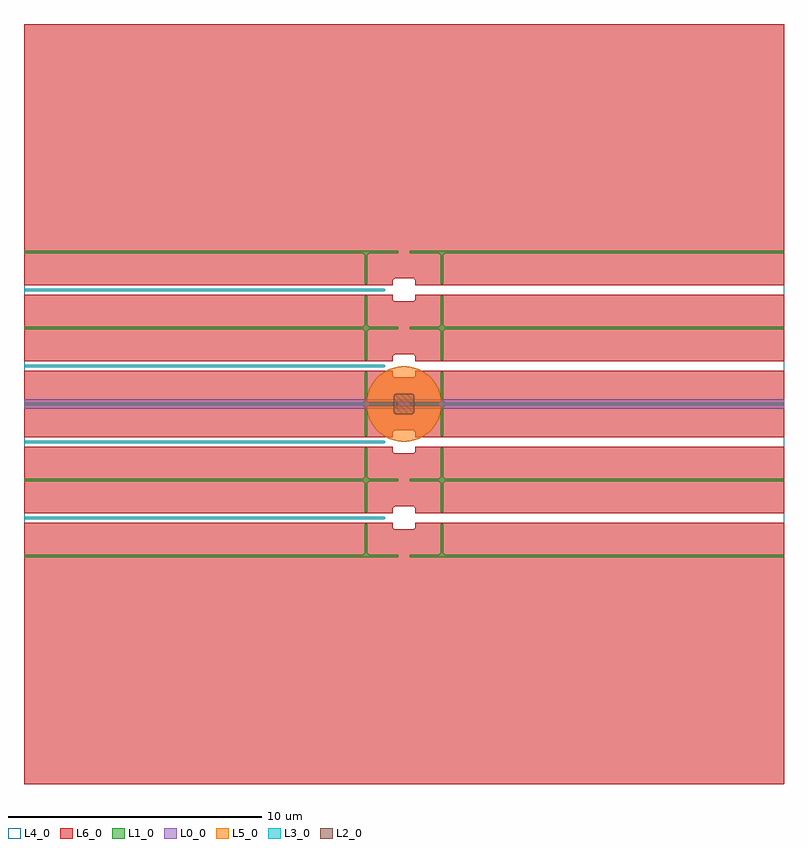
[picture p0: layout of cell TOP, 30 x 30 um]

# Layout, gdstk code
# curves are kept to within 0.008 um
import gdstk
lib = gdstk.Library(unit=1e-6, precision=1e-09)
def R(c, l, rs):  # rectangles x0, y0, x1, y1
    for r in rs: c.add(gdstk.rectangle(r[:2], r[2:], *l))
def P(c, l, *ps):  # polygons
    for p in ps: c.add(gdstk.Polygon(p, *l))
L0_0 = (0, 0)
L1_0 = (1, 0)
L2_0 = (2, 0)
L3_0 = (3, 0)
L4_0 = (4, 0)
L5_0 = (5, 0)
L6_0 = (6, 0)

top = lib.new_cell('TOP')
R(top, L0_0, [(-15,-0.194,15,0.194)])
P(top, L1_0, [(-14.957,-6.05),(-14.984,-6.037),(-15,-6.007),(-14.987,-5.966),(-14.957,-5.95),(-1.645,-5.949),(-1.586,-5.921),(-1.551,-5.855),(-1.55,-4.768),(-1.537,-4.741),(-1.507,-4.725),(-1.466,-4.738),(-1.45,-4.768),(-1.45,-5.844),(-1.444,-5.876),(-1.414,-5.921),(-1.344,-5.95),(-0.268,-5.95),(-0.241,-5.963),(-0.225,-5.993),(-0.238,-6.034),(-0.268,-6.05)],
  [(0.268,-6.05),(0.241,-6.037),(0.225,-6.007),(0.238,-5.966),(0.268,-5.95),(1.344,-5.95),(1.376,-5.944),(1.421,-5.914),(1.45,-5.844),(1.45,-4.768),(1.463,-4.741),(1.493,-4.725),(1.534,-4.738),(1.55,-4.768),(1.551,-5.855),(1.579,-5.914),(1.645,-5.949),(14.957,-5.95),(14.984,-5.963),(15,-5.993),(14.987,-6.034),(14.957,-6.05)],
  [(-1.507,-4.275),(-1.534,-4.262),(-1.55,-4.232),(-1.551,-3.145),(-1.579,-3.086),(-1.645,-3.051),(-14.957,-3.05),(-14.987,-3.034),(-15,-2.993),(-14.987,-2.966),(-14.957,-2.95),(-1.645,-2.949),(-1.586,-2.921),(-1.551,-2.855),(-1.55,-1.768),(-1.534,-1.738),(-1.493,-1.725),(-1.466,-1.738),(-1.45,-1.768),(-1.45,-2.844),(-1.421,-2.914),(-1.376,-2.944),(-1.344,-2.95),(-0.268,-2.95),(-0.238,-2.966),(-0.225,-3.007),(-0.238,-3.034),(-0.268,-3.05),(-1.344,-3.05),(-1.414,-3.079),(-1.444,-3.124),(-1.45,-3.156),(-1.45,-4.232),(-1.466,-4.262)],
  [(1.493,-4.275),(1.466,-4.262),(1.45,-4.232),(1.45,-3.156),(1.421,-3.086),(1.376,-3.056),(1.344,-3.05),(0.268,-3.05),(0.241,-3.037),(0.225,-3.007),(0.238,-2.966),(0.268,-2.95),(1.344,-2.95),(1.376,-2.944),(1.421,-2.914),(1.45,-2.844),(1.45,-1.768),(1.463,-1.741),(1.493,-1.725),(1.534,-1.738),(1.55,-1.768),(1.551,-2.855),(1.579,-2.914),(1.645,-2.949),(14.957,-2.95),(14.984,-2.963),(15,-2.993),(14.987,-3.034),(14.957,-3.05),(1.645,-3.051),(1.586,-3.079),(1.551,-3.145),(1.55,-4.232),(1.534,-4.262)],
  [(-1.507,-1.275),(-1.534,-1.262),(-1.55,-1.232),(-1.551,-0.145),(-1.579,-0.086),(-1.645,-0.051),(-14.957,-0.05),(-14.987,-0.034),(-15,0.007),(-14.987,0.034),(-14.957,0.05),(-1.645,0.051),(-1.586,0.079),(-1.551,0.145),(-1.55,1.232),(-1.534,1.262),(-1.493,1.275),(-1.466,1.262),(-1.45,1.232),(-1.45,0.156),(-1.421,0.086),(-1.376,0.056),(-1.344,0.05),(-0.268,0.05),(-0.238,0.034),(-0.225,-0.007),(-0.238,-0.034),(-0.268,-0.05),(-1.344,-0.05),(-1.414,-0.079),(-1.444,-0.124),(-1.45,-0.156),(-1.45,-1.232),(-1.466,-1.262)],
  [(1.493,-1.275),(1.466,-1.262),(1.45,-1.232),(1.45,-0.156),(1.421,-0.086),(1.376,-0.056),(1.344,-0.05),(0.268,-0.05),(0.241,-0.037),(0.225,-0.007),(0.238,0.034),(0.268,0.05),(1.344,0.05),(1.376,0.056),(1.421,0.086),(1.45,0.156),(1.45,1.232),(1.463,1.259),(1.493,1.275),(1.534,1.262),(1.55,1.232),(1.551,0.145),(1.579,0.086),(1.645,0.051),(14.957,0.05),(14.984,0.037),(15,0.007),(14.987,-0.034),(14.957,-0.05),(1.645,-0.051),(1.586,-0.079),(1.551,-0.145),(1.55,-1.232),(1.534,-1.262)],
  [(-1.507,1.725),(-1.534,1.738),(-1.55,1.768),(-1.551,2.855),(-1.579,2.914),(-1.645,2.949),(-14.957,2.95),(-14.987,2.966),(-15,3.007),(-14.987,3.034),(-14.957,3.05),(-1.645,3.051),(-1.586,3.079),(-1.551,3.145),(-1.55,4.232),(-1.534,4.262),(-1.493,4.275),(-1.466,4.262),(-1.45,4.232),(-1.45,3.156),(-1.421,3.086),(-1.376,3.056),(-1.344,3.05),(-0.268,3.05),(-0.238,3.034),(-0.225,2.993),(-0.238,2.966),(-0.268,2.95),(-1.344,2.95),(-1.414,2.921),(-1.444,2.876),(-1.45,2.844),(-1.45,1.768),(-1.466,1.738)],
  [(1.493,1.725),(1.466,1.738),(1.45,1.768),(1.45,2.844),(1.421,2.914),(1.376,2.944),(1.344,2.95),(0.268,2.95),(0.241,2.963),(0.225,2.993),(0.238,3.034),(0.268,3.05),(1.344,3.05),(1.376,3.056),(1.421,3.086),(1.45,3.156),(1.45,4.232),(1.463,4.259),(1.493,4.275),(1.534,4.262),(1.55,4.232),(1.551,3.145),(1.579,3.086),(1.645,3.051),(14.957,3.05),(14.984,3.037),(15,3.007),(14.987,2.966),(14.957,2.95),(1.645,2.949),(1.586,2.921),(1.551,2.855),(1.55,1.768),(1.534,1.738)],
  [(-1.507,4.725),(-1.534,4.738),(-1.55,4.768),(-1.551,5.855),(-1.579,5.914),(-1.645,5.949),(-14.957,5.95),(-14.987,5.966),(-15,6.007),(-14.987,6.034),(-14.957,6.05),(-0.268,6.05),(-0.241,6.037),(-0.225,6.007),(-0.238,5.966),(-0.268,5.95),(-1.344,5.95),(-1.376,5.944),(-1.421,5.914),(-1.45,5.844),(-1.45,4.768),(-1.466,4.738)],
  [(1.493,4.725),(1.466,4.738),(1.45,4.768),(1.45,5.844),(1.421,5.914),(1.376,5.944),(1.344,5.95),(0.268,5.95),(0.241,5.963),(0.225,5.993),(0.238,6.034),(0.268,6.05),(14.957,6.05),(14.984,6.037),(15,6.007),(14.987,5.966),(14.957,5.95),(1.645,5.949),(1.586,5.921),(1.551,5.855),(1.55,4.768),(1.534,4.738)])
P(top, L2_0, [(-0.305,-0.4),(-0.367,-0.374),(-0.391,-0.343),(-0.4,-0.305),(-0.4,0.305),(-0.374,0.367),(-0.343,0.391),(-0.305,0.4),(0.305,0.4),(0.367,0.374),(0.391,0.343),(0.4,0.305),(0.4,-0.305),(0.374,-0.367),(0.343,-0.391),(0.305,-0.4)])
P(top, L3_0, [(-14.957,-4.55),(-14.984,-4.537),(-15,-4.507),(-14.987,-4.466),(-14.957,-4.45),(-0.793,-4.45),(-0.766,-4.463),(-0.75,-4.493),(-0.763,-4.534),(-0.793,-4.55)],
  [(-14.957,-1.55),(-14.984,-1.537),(-15,-1.507),(-14.987,-1.466),(-14.957,-1.45),(-0.793,-1.45),(-0.766,-1.463),(-0.75,-1.493),(-0.763,-1.534),(-0.793,-1.55)],
  [(-14.957,1.45),(-14.984,1.463),(-15,1.493),(-14.987,1.534),(-14.957,1.55),(-0.793,1.55),(-0.766,1.537),(-0.75,1.507),(-0.763,1.466),(-0.793,1.45)],
  [(-14.957,4.45),(-14.984,4.463),(-15,4.493),(-14.987,4.534),(-14.957,4.55),(-0.793,4.55),(-0.766,4.537),(-0.75,4.507),(-0.763,4.466),(-0.793,4.45)])
R(top, L4_0, [(-15,-15,15,15)])
P(top, L5_0, [(-0.037,-1.49),(-0.327,-1.454),(-0.604,-1.363),(-0.858,-1.219),(-1.028,-1.079),(-1.219,-0.858),(-1.363,-0.604),(-1.454,-0.327),(-1.488,-0.065),(1.488,-0.065),(1.454,-0.327),(1.363,-0.604),(1.219,-0.858),(1.028,-1.079),(0.797,-1.259),(0.536,-1.391),(0.255,-1.469)],
  [(-1.488,0.065),(-1.454,0.327),(-1.363,0.604),(-1.219,0.858),(-1.028,1.079),(-0.858,1.219),(-0.604,1.363),(-0.327,1.454),(-0.037,1.49),(0.255,1.469),(0.536,1.391),(0.797,1.259),(1.028,1.079),(1.219,0.858),(1.363,0.604),(1.454,0.327),(1.488,0.065)])
P(top, L6_0, [(-15,-15),(-15,-4.694),(-0.45,-4.694),(-0.441,-4.893),(-0.401,-4.936),(-0.355,-4.95),(0.384,-4.944),(0.424,-4.917),(0.447,-4.874),(0.45,-4.694),(15,-4.694),(15,-15)],
  [(-15,-4.305),(-15,-1.694),(-0.45,-1.694),(-0.441,-1.893),(-0.401,-1.936),(-0.355,-1.95),(0.384,-1.944),(0.424,-1.917),(0.447,-1.874),(0.45,-1.694),(15,-1.694),(15,-4.305),(0.45,-4.305),(0.441,-4.107),(0.401,-4.064),(0.355,-4.05),(-0.384,-4.056),(-0.424,-4.083),(-0.447,-4.126),(-0.45,-4.305)],
  [(-15,-1.305),(-15,1.305),(-0.45,1.305),(-0.441,1.107),(-0.401,1.064),(-0.355,1.05),(0.384,1.056),(0.424,1.083),(0.447,1.126),(0.45,1.305),(15,1.305),(15,-1.305),(0.45,-1.305),(0.441,-1.107),(0.401,-1.064),(0.355,-1.05),(-0.384,-1.056),(-0.424,-1.083),(-0.447,-1.126),(-0.45,-1.305)],
  [(-15,1.694),(-15,4.305),(-0.45,4.305),(-0.441,4.107),(-0.401,4.064),(-0.355,4.05),(0.384,4.056),(0.424,4.083),(0.447,4.126),(0.45,4.305),(15,4.305),(15,1.694),(0.45,1.694),(0.441,1.893),(0.401,1.936),(0.355,1.95),(-0.384,1.944),(-0.424,1.917),(-0.447,1.874),(-0.45,1.694)],
  [(-15,4.694),(-15,15),(15,15),(15,4.694),(0.45,4.694),(0.441,4.893),(0.401,4.936),(0.355,4.95),(-0.384,4.944),(-0.424,4.917),(-0.447,4.874),(-0.45,4.694)])

lib.write_gds('TOP.gds')
